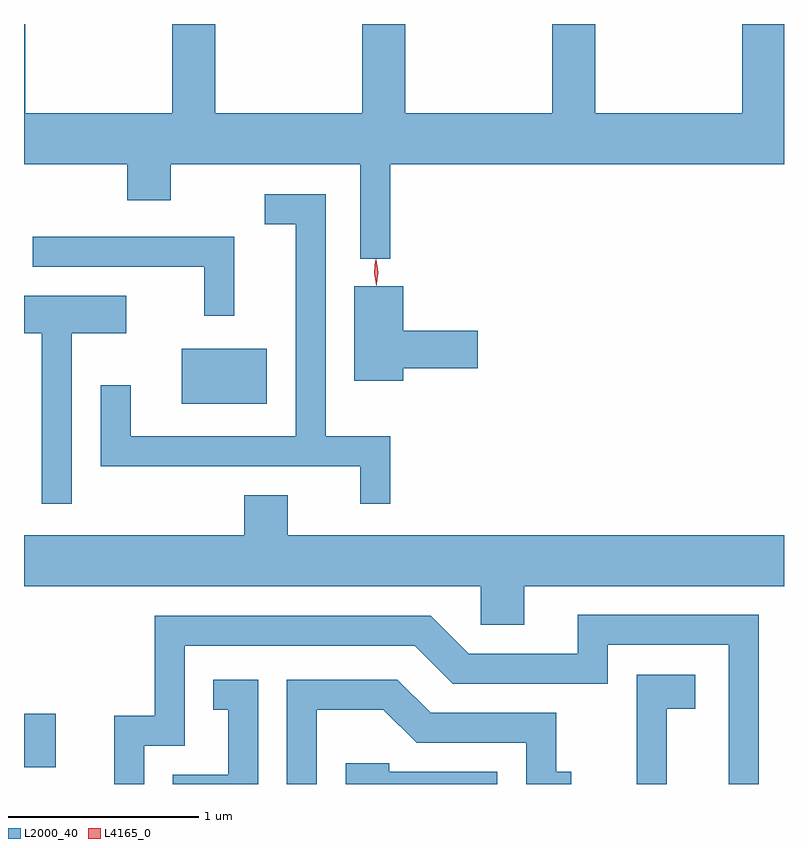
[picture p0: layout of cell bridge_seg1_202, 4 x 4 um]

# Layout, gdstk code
import gdstk
lib = gdstk.Library(unit=1e-6, precision=1e-09)
def R(c, l, rs):  # rectangles x0, y0, x1, y1
    for r in rs: c.add(gdstk.rectangle(r[:2], r[2:], *l))
def P(c, l, *ps):  # polygons
    for p in ps: c.add(gdstk.Polygon(p, *l))
L2000_40 = (2000, 40)
L4165_0 = (4165, 0)

bridge_seg1_202 = lib.new_cell('bridge_seg1_202')
R(bridge_seg1_202, L2000_40, [(809.947,916.381,810.114,916.664), (810.776,918.296,811.224,918.584)])
P(bridge_seg1_202, L2000_40, [(811.874,919.556),(813.947,919.556),(813.947,920.294),(813.726,920.294),(813.726,919.824),(812.954,919.824),(812.954,920.294),(812.726,920.294),(812.726,919.824),(811.954,919.824),(811.954,920.294),(811.726,920.294),(811.726,919.824),(810.954,919.824),(810.954,920.294),(810.726,920.294),(810.726,919.824),(809.954,919.824),(809.954,920.294),(809.947,920.294),(809.947,919.556),(810.491,919.556),(810.491,919.366),(810.719,919.366),(810.719,919.556),(811.716,919.556),(811.716,919.058),(811.874,919.058)],
  [(811.874,918.124),(811.534,918.124),(811.534,919.399),(811.213,919.399),(811.213,919.241),(811.376,919.241),(811.376,918.124),(810.509,918.124),(810.509,918.393),(810.351,918.393),(810.351,917.966),(811.716,917.966),(811.716,917.768),(811.874,917.768)],
  [(811.054,919.174),(809.993,919.174),(809.993,919.016),(810.896,919.016),(810.896,918.758),(811.054,918.758)],
  [(811.944,918.481),(812.334,918.481),(812.334,918.679),(811.944,918.679),(811.944,918.914),(811.686,918.914),(811.686,918.416),(811.944,918.416)],
  [(810.199,918.666),(810.484,918.666),(810.484,918.864),(809.947,918.864),(809.947,918.666),(810.041,918.666),(810.041,917.768),(810.199,917.768)],
  [(812.579,917.336),(813.947,917.336),(813.947,917.604),(811.334,917.604),(811.334,917.814),(811.106,917.814),(811.106,917.604),(809.947,917.604),(809.947,917.336),(812.351,917.336),(812.351,917.131),(812.579,917.131)],
  [(810.579,916.496),(810.794,916.496),(810.794,917.021),(812.004,917.021),(812.204,916.821),(813.019,916.821),(813.019,917.026),(813.656,917.026),(813.656,916.294),(813.814,916.294),(813.814,917.184),(812.861,917.184),(812.861,916.979),(812.287,916.979),(812.087,917.179),(810.636,917.179),(810.636,916.654),(810.421,916.654),(810.421,916.294),(810.579,916.294)],
  [(813.329,916.691),(813.479,916.691),(813.479,916.869),(813.171,916.869),(813.171,916.294),(813.329,916.294)],
  [(811.489,916.686),(811.839,916.686),(812.014,916.511),(812.591,916.511),(812.591,916.294),(812.828,916.294),(812.828,916.359),(812.749,916.359),(812.749,916.669),(812.087,916.669),(811.912,916.844),(811.331,916.844),(811.331,916.294),(811.489,916.294)],
  [(811.179,916.844),(810.943,916.844),(810.943,916.686),(811.021,916.686),(811.021,916.344),(810.731,916.344),(810.731,916.294),(811.179,916.294)],
  [(812.439,916.359),(811.869,916.359),(811.869,916.404),(811.641,916.404),(811.641,916.294),(812.439,916.294)])
P(bridge_seg1_202, L4165_0, [(811.804,918.92),(811.803,918.921),(811.79,918.985),(811.796,919.051),(811.796,919.052),(811.796,919.051),(811.81,918.987),(811.804,918.921)],
  [(811.801,918.918),(811.801,918.918),(811.791,918.986),(811.8,919.055),(811.801,919.055),(811.801,919.055),(811.811,918.986),(811.802,918.918)])

lib.write_gds('bridge_seg1_202.gds')
